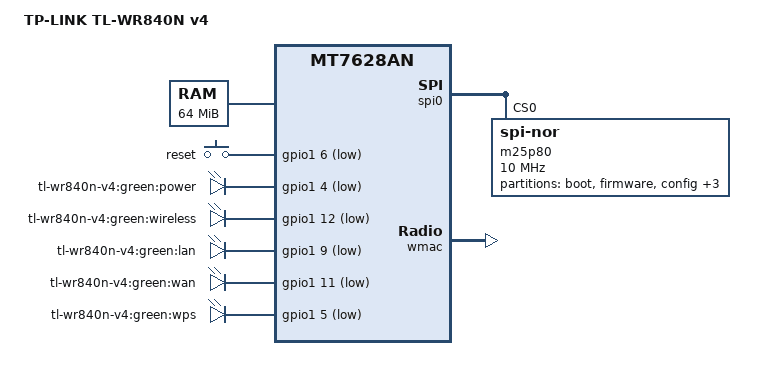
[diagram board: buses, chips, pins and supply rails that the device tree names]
/dts-v1/;

#include <dt-bindings/gpio/gpio.h>
#include <dt-bindings/input/input.h>

#include "mt7628an.dtsi"

/ {
	compatible = "tplink,tl-wr840n-v4", "mediatek,mt7628an-soc";
	model = "TP-LINK TL-WR840N v4";

	chosen {
		bootargs = "console=ttyS0,115200";
	};

	memory@0 {
		device_type = "memory";
		reg = <0x0 0x4000000>;
	};

	gpio-keys-polled {
		compatible = "gpio-keys-polled";
		#address-cells = <1>;
		#size-cells = <0>;
		poll-interval = <20>;

		reset {
			label = "reset";
			gpios = <&gpio1 6 GPIO_ACTIVE_LOW>;
			linux,code = <KEY_RESTART>;
		};
	};

	gpio-leds {
		compatible = "gpio-leds";

		power	 {
			label = "tl-wr840n-v4:green:power";
			gpios = <&gpio1 4 GPIO_ACTIVE_LOW>;
		};

		wireless {
			label = "tl-wr840n-v4:green:wireless";
			gpios = <&gpio1 12 GPIO_ACTIVE_LOW>;
		};

		ethernet {
			label = "tl-wr840n-v4:green:lan";
			gpios = <&gpio1 9 GPIO_ACTIVE_LOW>;
		};

		internet {
			label = "tl-wr840n-v4:green:wan";
			gpios = <&gpio1 11 GPIO_ACTIVE_LOW>;
		};

		wps {
			label = "tl-wr840n-v4:green:wps";
			gpios = <&gpio1 5 GPIO_ACTIVE_LOW>;
		};
	};
};

&pinctrl {
	state_default: pinctrl0 {
		gpio {
			ralink,group = "i2c", "i2s", "uart1", "uart2", "p0led_an", "p2led_an" ;
			ralink,function = "gpio";
		};
	};
};

&spi0 {
	status = "okay";

	m25p80@0 {
		#address-cells = <1>;
		#size-cells = <1>;
		compatible = "jedec,spi-nor";
		reg = <0>;
		spi-max-frequency = <10000000>;
		m25p,chunked-io = <32>;

		partition@0 {
			label = "boot";
			reg = <0x0 0x20000>;
			read-only;
		};

		partition@20000 {
			label = "firmware";
			reg = <0x20000 0x7a0000>;
		};

		partition@7c0000 {
			label = "config";
			reg = <0x7c0000 0x10000>;
			read-only;
		};

		factory: partition@07d0000 {
			label = "romfile";
			reg = <0x7d0000 0x10000>;
			read-only;
		};

		partition@07e0000 {
			label = "rom";
			reg = <0x7e0000 0x10000>;
			read-only;
		};

		partition@07f0000 {
			label = "radio";
			reg = <0x7f0000 0x10000>;
			read-only;
		};
	};
};

&usbphy {
	status = "disabled";
};

&ehci {
	status = "disabled";
};

&ohci {
	status = "disabled";
};

&wmac {
	status = "okay";
	mtd-mac-address = <&factory 0xf100>;
};

&ethernet {
	mtd-mac-address = <&factory 0xf100>;
	mediatek,portmap = "llllw";
};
